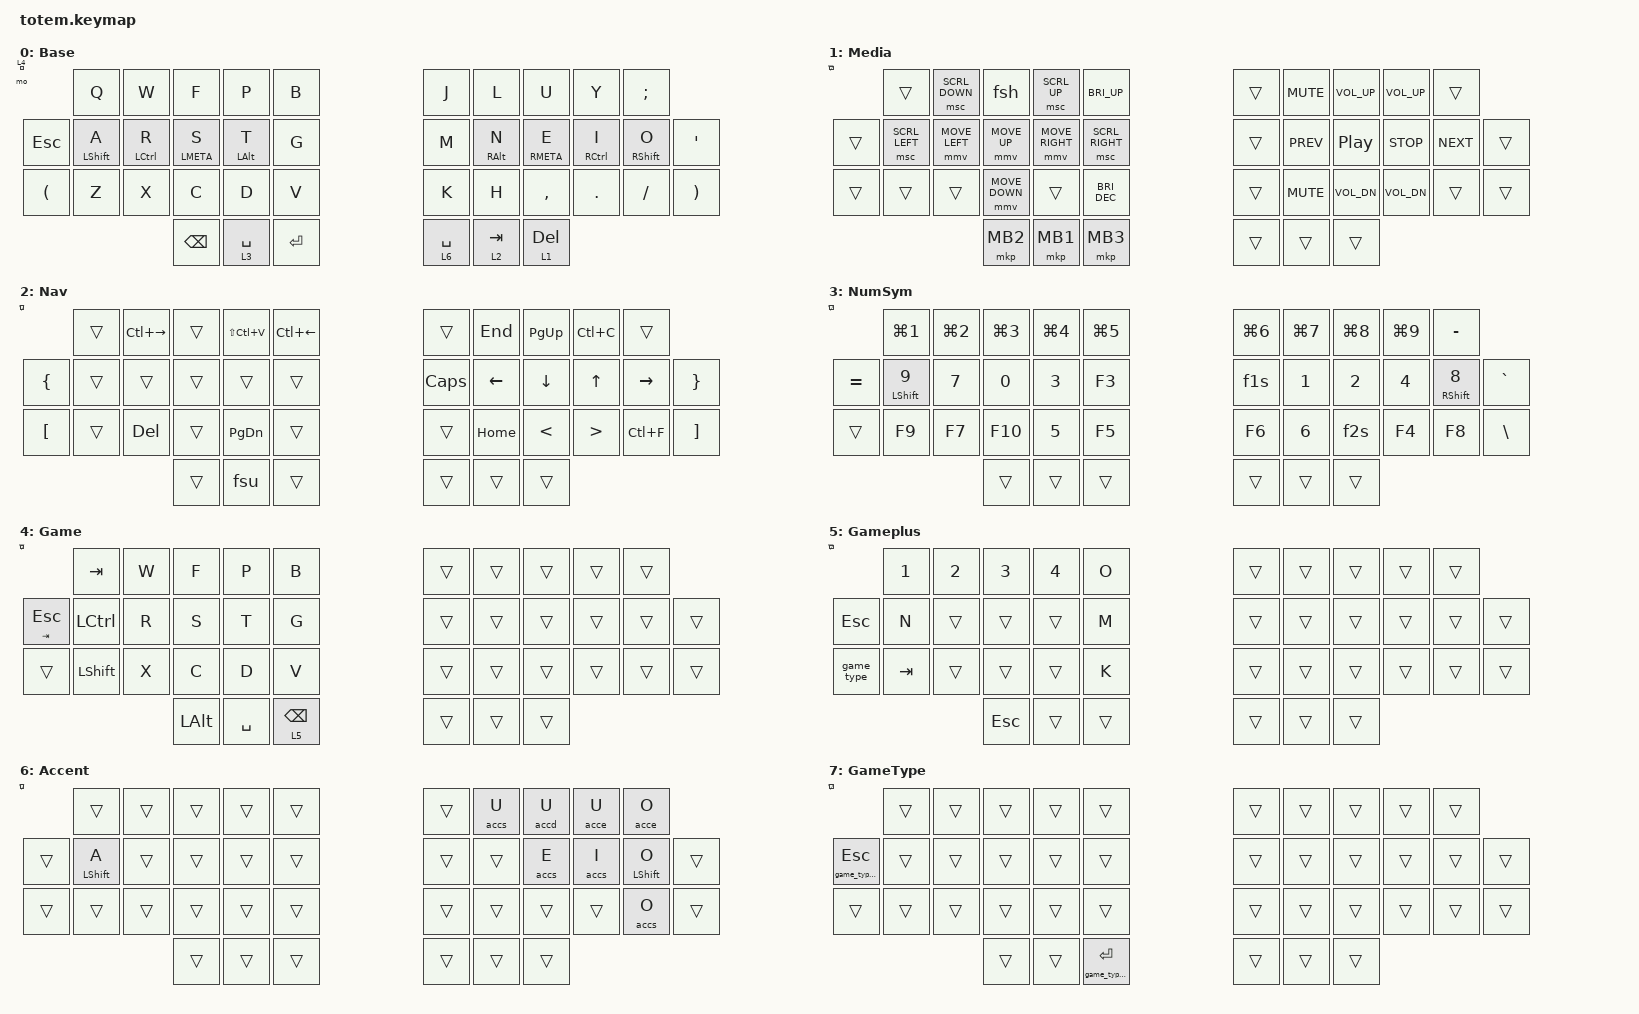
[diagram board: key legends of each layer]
//
//                                                         ▀▀▀▀▀     ▀▀▀▀▀          ▀▀█▀▀
//                                                         ▄▀▀▀▄  ▄  ▄▀▀▀▄  ▄  ▄▀▀▀▄  █  ▄▀▀▀▄
//                                                         █   █  █  █   █  █  █   █  █  █   █
//                                                          ▀▀▀   █   ▀▀▀   █   ▀▀▀   ▀   ▀▀▀
//                                                                █      ▄▄▄█▄▄▄     █   █
//                                                                ▀      █  █  █      █▄█
//                                                              ▀▀▀▀▀    █  █  █       ▀
//                                                                       ▀  ▀  ▀
//
// ▄▄▄▄▄▄▄▄▄▄▄▄▄▄▄▄▄▄▄▄▄▄▄▄▄▄▄▄▄▄▄▄▄▄▄▄▄▄▄▄▄▄▄▄▄▄▄▄▄▄▄▄▄▄▄▄▄▄▄▄▄▄▄▄▄▄▄▄▄▄▄▄▄▄▄▄▄▄▄▄▄▄▄▄▄▄▄▄▄▄▄▄▄▄▄▄▄▄▄▄▄▄▄▄▄▄▄▄▄▄▄▄▄▄▄▄▄▄▄▄▄▄▄▄▄▄▄▄▄▄▄▄▄▄▄▄▄▄▄▄▄▄▄▄▄▄▄▄▄

#include <dt-bindings/zmk/mouse.h>
#include <behaviors.dtsi>
#include <dt-bindings/zmk/keys.h>
#include <dt-bindings/zmk/pointing.h>

#define Base        0
#define Media       1
#define Nav         2
#define NumSym      3
#define Game        4
#define Gameplus    5
#define Accent      6

&mt {
    flavor = "balanced";
    tapping-term-ms = <280>;
    quick-tap-ms = <175>;
    require-prior-idle-ms = <150>;
};

&lt {
    flavor = "balanced";
    tapping-term-ms = <280>;
    quick-tap-ms = <175>;
    require-prior-idle-ms = <150>;
};

/ {
    behaviors {
        hm: homerow_mods {
            compatible = "zmk,behavior-hold-tap";
            label = "HOMEROW_MODS";
            #binding-cells = <2>;
            flavor = "balanced";
            tapping-term-ms = <280>;
            quick-tap-ms = <175>;
            require-prior-idle-ms = <150>;
            bindings = <&kp>, <&kp>;
        };

        fsu: flip_shift_underscore {
            compatible = "zmk,behavior-mod-morph";
            label = "FLIP_SHIFT_UNDERSCORE";
            bindings = <&kp UNDER>, <&kp MINUS>;

            #binding-cells = <0>;
            mods = <(MOD_LSFT|MOD_RSFT)>;
        };

        f1s: f1or11 {
            compatible = "zmk,behavior-mod-morph";
            label = "F1OR11";
            bindings = <&kp F1>, <&kp F11>;

            #binding-cells = <0>;
            mods = <(MOD_LSFT|MOD_RSFT)>;
        };

        f2s: f2_or_f12 {
            compatible = "zmk,behavior-mod-morph";
            label = "F2_OR_F12";
            bindings = <&kp F2>, <&kp F12>;

            #binding-cells = <0>;
            mods = <(MOD_LSFT|MOD_RSFT)>;
        };

        sqns: single_quote_no_shift {
            compatible = "zmk,behavior-mod-morph";
            label = "SINGLE_QUOTE_NO_SHIFT";
            bindings = <&kp SQT>, <&kp SQT>;

            #binding-cells = <0>;
            mods = <(MOD_LSFT|MOD_RSFT)>;
        };

        dqns: double_quote_no_shift {
            compatible = "zmk,behavior-mod-morph";
            label = "DOUBLE_QUOTE_NO_SHIFT";
            bindings = <&kp DQT>, <&kp DQT>;

            #binding-cells = <0>;
            mods = <(MOD_LSFT|MOD_RSFT)>;
        };

        eqns: equal_no_shift {
            compatible = "zmk,behavior-mod-morph";
            label = "EQUAL_NO_SHIFT";
            bindings = <&kp EQUAL>, <&kp EQUAL>;

            #binding-cells = <0>;
            mods = <(MOD_LSFT|MOD_RSFT)>;
        };

        df: double_function {
            compatible = "zmk,behavior-hold-tap";
            label = "DOUBLE_FUNCTION";
            #binding-cells = <2>;
            flavor = "tap-preferred";
            tapping-term-ms = <500>;
            quick-tap-ms = <160>;
            require-prior-idle-ms = <150>;
            bindings = <&kp>, <&kp>;
        };

        hmaccs: homerow_mods_accent_single {
            compatible = "zmk,behavior-hold-tap";
            label = "HOMEROW_MODS_ACCENT_SINGLE";
            #binding-cells = <2>;
            flavor = "balanced";
            tapping-term-ms = <280>;
            quick-tap-ms = <175>;
            require-prior-idle-ms = <150>;
            bindings = <&kp>, <&accs>;
        };

        hmaccd: homerow_mods_accent_double {
            compatible = "zmk,behavior-hold-tap";
            label = "HOMEROW_MODS_ACCENT_DOUBLE";
            #binding-cells = <2>;
            flavor = "balanced";
            tapping-term-ms = <280>;
            quick-tap-ms = <175>;
            require-prior-idle-ms = <150>;
            bindings = <&kp>, <&accd>;
        };
    };

    combos {
        compatible = "zmk,combos";

        combo_capsword {
            bindings = <&caps_word>;
            key-positions = <12 21>;
            timeout-ms = <30>;
            require-prior-idle-ms = <50>;
            layers = <0>;
        };

        gamemode {
            bindings = <&tog 4>;
            key-positions = <12 13 14 15>;
            layers = <2 4 5>;
            require-prior-idle-ms = <100>;
        };
    };

    macros {
        cps: copy_shot {
            compatible = "zmk,behavior-macro";
            #binding-cells = <0>;
            bindings = <&kp LG(R) &kp C>;
            label = "COPY_SHOT";
        };

        fsh: full_screen_shot {
            compatible = "zmk,behavior-macro";
            #binding-cells = <0>;
            bindings = <&kp LG(R) &kp F>;
            label = "FULL_SCREEN_SHOT";
        };

        acc: accent {
            compatible = "zmk,behavior-macro-two-param";
            #binding-cells = <2>;
            bindings =
                <&macro_press>,
                <&kp RALT &macro_param_1to1>,
                <&macro_tap>,
                <&kp MACRO_PLACEHOLDER &macro_param_2to1>,
                <&macro_tap>,
                <&kp MACRO_PLACEHOLDER>,
                <&macro_release>,
                <&kp RALT>;
        };

        accs: accent_single_quote {
            compatible = "zmk,behavior-macro-one-param";
            #binding-cells = <1>;
            bindings =
                <&macro_press>,
                <&kp RALT>,
                <&macro_tap>,
                <&sqns &macro_param_1to1 &kp MACRO_PLACEHOLDER>,
                <&macro_release>,
                <&kp RALT>;

            label = "ACCENT_SINGLE_QUOTE";
        };

        accd: accent_double_quote {
            compatible = "zmk,behavior-macro-one-param";
            #binding-cells = <1>;
            bindings =
                <&macro_press>,
                <&kp RALT>,
                <&macro_tap>,
                <&dqns &macro_param_1to1 &kp MACRO_PLACEHOLDER>,
                <&macro_release>,
                <&kp RALT>;

            label = "ACCENT_DOUBLE_QUOTE";
        };

        acce: accent_equal {
            compatible = "zmk,behavior-macro-one-param";
            #binding-cells = <1>;
            bindings =
                <&macro_press>,
                <&kp RALT>,
                <&macro_tap>,
                <&eqns &macro_param_1to1 &kp MACRO_PLACEHOLDER>,
                <&macro_release>,
                <&kp RALT>;

            label = "ACCENT_EQUAL";
        };

        game_type: game_type {
            compatible = "zmk,behavior-macro";
            #binding-cells = <0>;
            bindings = <&kp ENTER &to 7>;
            label = "GAME_TYPE";
        };

        game_type_exit: game_type_exit {
            compatible = "zmk,behavior-macro-one-param";
            #binding-cells = <1>;
            bindings = <&macro_param_1to1 &kp MACRO_PLACEHOLDER &to 4>;
            label = "GAME_TYPE_EXIT";
        };
    };

    keymap {
        compatible = "zmk,keymap";

        Base {
            label = "Base";
            bindings = <
            &kp Q        &kp W        &kp F          &kp P        &kp B        &kp J        &kp L        &kp U         &kp Y        &kp SEMI     &mo 4
&kp ESCAPE  &hm LSHFT A  &hm LCTRL R  &hm LMETA S    &hm LALT T   &kp G        &kp M        &hm RALT N  &hm RMETA E   &hm RCTRL I  &hm RSHFT O  &kp APOS
&kp LPAR    &kp Z        &kp X        &kp C          &kp D        &kp V        &kp K        &kp H        &kp COMMA     &kp DOT      &kp SLASH    &kp RPAR
                                      &kp BACKSPACE  &lt 3 SPACE  &kp ENTER    &lt 6 SPACE  &lt 2 TAB    &lt 1 DELETE
            >;
        };

        Media {
            label = "Media";
            bindings = <
        &trans          &msc SCRL_DOWN  &fsh            &msc SCRL_UP     &kp C_BRI_UP       &trans  &kp C_MUTE  &kp C_VOL_UP  &kp C_VOL_UP  &trans      &trans
&trans  &msc SCRL_LEFT  &mmv MOVE_LEFT  &mmv MOVE_UP    &mmv MOVE_RIGHT  &msc SCRL_RIGHT    &trans  &kp C_PREV  &kp C_PP      &kp C_STOP    &kp C_NEXT  &trans
&trans  &trans          &trans          &mmv MOVE_DOWN  &trans             &kp C_BRI_DEC      &trans  &kp C_MUTE  &kp C_VOL_DN  &kp C_VOL_DN  &trans      &trans
                                        &mkp MB2        &mkp MB1         &mkp MB3           &trans  &trans      &trans
            >;
        };

        Nav {
            label = "Nav";
            bindings = <
          &trans  &kp LC(RIGHT)  &trans  &kp LS(LC(V))  &kp LC(LEFT)    &trans    &kp END   &kp PG_UP  &kp LC(C)  &trans     &trans
&kp LBRC  &trans  &trans         &trans  &trans         &trans          &kp CAPS  &kp LEFT  &kp DOWN   &kp UP     &kp RIGHT  &kp RIGHT_BRACE
&kp LBKT  &trans  &kp DEL        &trans  &kp PG_DN      &trans          &trans    &kp HOME  &kp LT     &kp GT     &kp LC(F)  &kp RBKT
                                 &trans  &fsu           &trans          &trans    &trans    &trans
            >;
        };

        NumSym {
            label = "NumSym";
            bindings = <
           &kp LG(N1)    &kp LG(N2)  &kp LG(N3)  &kp LG(N4)  &kp LG(N5)    &kp LG(N6)  &kp LG(N7)  &kp LG(N8)  &kp LG(N9)  &kp MINUS     &trans
&kp EQUAL  &hm LSHFT N9  &kp N7      &kp N0      &kp N3      &kp F3        &f1s        &kp N1      &kp N2      &kp N4      &hm RSHFT N8  &kp GRAVE
&trans     &kp F9        &kp F7      &kp F10     &kp N5      &kp F5        &kp F6      &kp N6      &f2s        &kp F4      &kp F8        &kp BSLH
                                     &trans      &trans      &trans        &trans      &trans      &trans
            >;
        };

        Game {
            label = "Game";
            bindings = <
             &kp TAB    &kp W  &kp F     &kp P      &kp B              &trans  &trans  &trans  &trans  &trans  &trans
&df TAB ESC  &kp LCTRL  &kp R  &kp S     &kp T      &kp G              &trans  &trans  &trans  &trans  &trans  &trans
&trans       &kp LSHFT  &kp X  &kp C     &kp D      &kp V              &trans  &trans  &trans  &trans  &trans  &trans
                               &kp LALT  &kp SPACE  &lt 5 BACKSPACE    &trans  &trans  &trans
            >;
        };

        Gameplus {
            label = "Gameplus";
            bindings = <
            &kp NUMBER_1  &kp NUMBER_2  &kp NUMBER_3  &kp NUMBER_4  &kp O     &trans  &trans  &trans  &trans  &trans  &trans
&kp ESC      &kp N         &trans        &trans        &trans        &kp M     &trans  &trans  &trans  &trans  &trans  &trans
&game_type  &kp TAB       &trans        &trans        &trans        &kp K     &trans  &trans  &trans  &trans  &trans  &trans
                                        &kp ESCAPE    &trans        &trans    &trans  &trans  &trans
            >;
        };

        Accent {
            bindings = <
        &trans            &trans  &trans  &trans  &trans    &trans  &accs U  &accd U  &acce U  &acce O               &trans
&trans  &hmaccs LSHIFT A  &trans  &trans  &trans  &trans    &trans  &trans   &accs E  &accs I  &hmaccd LEFT_SHIFT O  &trans
&trans  &trans            &trans  &trans  &trans  &trans    &trans  &trans   &trans   &trans   &accs O               &trans
                                  &trans  &trans  &trans    &trans  &trans   &trans
            >;
        };

        GameType {
            bindings = <
                     &trans  &trans  &trans  &trans  &trans                    &trans  &trans  &trans  &trans  &trans  &trans
&game_type_exit ESC  &trans  &trans  &trans  &trans  &trans                    &trans  &trans  &trans  &trans  &trans  &trans
&trans               &trans  &trans  &trans  &trans  &trans                    &trans  &trans  &trans  &trans  &trans  &trans
                                     &trans  &trans  &game_type_exit ENTER    &trans  &trans  &trans
            >;
        };
    };
};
